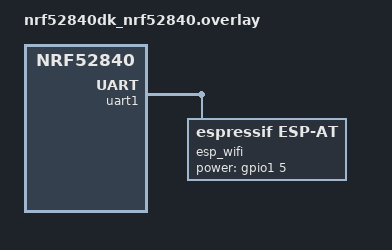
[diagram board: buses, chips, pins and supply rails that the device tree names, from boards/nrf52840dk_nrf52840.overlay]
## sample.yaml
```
sample:
  description: Use LightDB set
  name: lightdb-set
common:
  harness: pytest
  tags:
    - golioth
    - lightdb
    - socket
    - goliothd
tests:
  sample.golioth.lightdb_set:
    timeout: 180
    extra_configs:
      - CONFIG_GOLIOTH_SAMPLE_TWISTER_TEST=y
      - arch:posix:CONFIG_NATIVE_UART_0_ON_STDINOUT=y
    platform_allow:
      - esp32s3_devkitc/esp32s3/procpu
      - frdm_rw612
      - native_sim
      - native_sim/native/64
      - nrf9160dk/nrf9160/ns
      - nucleo_h563zi/stm32h563xx
  sample.golioth.lightdb_set.wifi:
    harness: pytest
    tags:
      - golioth
      - lightdb
      - socket
      - goliothd
    timeout: 180
    extra_configs:
      - CONFIG_GOLIOTH_SAMPLE_TWISTER_TEST=y
    extra_args:
      - EXTRA_CONF_FILE=boards/frdm_rw612_wifi.conf
    platform_allow:
      - frdm_rw612
```

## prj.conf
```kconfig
# Application
CONFIG_GOLIOTH_SAMPLE_COMMON=y

# Golioth Firmware SDK with all dependencies
CONFIG_GOLIOTH_FIRMWARE_SDK=y
CONFIG_GOLIOTH_LIGHTDB_STATE=y
```

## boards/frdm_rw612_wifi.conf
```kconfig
# Extra configuration file for using NXP frdm_rw612 with WiFi instead of Ethernet
#   To use, add as extra conf file:
#   west build -p -b frdm_rw612 examples/zephyr/lightdb/set --extra-conf boards/frdm_rw612_wifi.conf
#
CONFIG_WIFI=y
CONFIG_WIFI_NXP=y
CONFIG_GOLIOTH_SAMPLE_WIFI=y

# Runtime provisioning for WiFi credentials
CONFIG_WIFI_CREDENTIALS=y
CONFIG_NET_L2_WIFI_SHELL=y
CONFIG_SHELL_STACK_SIZE=2560

# Wifi Configuration
CONFIG_NET_L2_ETHERNET=y
CONFIG_NET_PKT_RX_COUNT=36
CONFIG_NET_PKT_TX_COUNT=36
CONFIG_NET_BUF_RX_COUNT=40
CONFIG_NET_BUF_TX_COUNT=40
CONFIG_NET_BUF_DATA_SIZE=1744

# Handle WiFi Networks with Multiple DNS Servers
CONFIG_DNS_RESOLVER_MAX_SERVERS=3

# Disable Ethernet
CONFIG_ETH_NXP_ENET=n
CONFIG_PHY_MICROCHIP_KSZ8081=n
CONFIG_NET_CONFIG_AUTO_INIT=n
CONFIG_NET_CONFIG_NEED_IPV4=n

CONFIG_ZVFS_POLL_MAX=4
```

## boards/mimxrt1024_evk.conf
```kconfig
CONFIG_GOLIOTH_SAMPLE_DHCP_BIND=y
CONFIG_NET_L2_ETHERNET=y
CONFIG_NET_DHCPV4=y
CONFIG_BUILD_OUTPUT_HEX=y
CONFIG_BOOT_DELAY=2000
```

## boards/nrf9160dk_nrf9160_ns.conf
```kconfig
# General config
CONFIG_HEAP_MEM_POOL_SIZE=4096
CONFIG_NEWLIB_LIBC=y

# Networking
CONFIG_NET_SOCKETS_OFFLOAD=y
CONFIG_NET_IPV6=y
CONFIG_NET_IPV6_NBR_CACHE=n
CONFIG_NET_IPV6_MLD=n

# Increase native TLS socket implementation, so that it is chosen instead of
# offloaded nRF91 sockets
CONFIG_NET_SOCKETS_TLS_PRIORITY=35

# Modem library
CONFIG_NRF_MODEM_LIB=y
CONFIG_NRF_MODEM_LIB_ON_FAULT_APPLICATION_SPECIFIC=y

# LTE connectivity with network connection manager
CONFIG_NRF_MODEM_LIB_NET_IF=y
CONFIG_NRF_MODEM_LIB_NET_IF_AUTO_START=y
CONFIG_NRF_MODEM_LIB_NET_IF_AUTO_CONNECT=y
CONFIG_NET_CONNECTION_MANAGER=y
CONFIG_NET_CONNECTION_MANAGER_MONITOR_STACK_SIZE=1024

# Increased sysworkq size, due to LTE connectivity
CONFIG_SYSTEM_WORKQUEUE_STACK_SIZE=2048

# Disable options y-selected by NCS for no good reason
CONFIG_MBEDTLS_KEY_EXCHANGE_DHE_PSK_ENABLED=n
CONFIG_MBEDTLS_KEY_EXCHANGE_DHE_RSA_ENABLED=n

# MbedTLS configuration to support p-384 curve. These options
# enable using the MbedTLS built-in support for operations not
# supported by the default nRF Oberon crypto backend
CONFIG_NORDIC_SECURITY_BACKEND=n
CONFIG_MBEDTLS_LEGACY_CRYPTO_C=y

# Generate MCUboot compatible images
CONFIG_BOOTLOADER_MCUBOOT=y
```

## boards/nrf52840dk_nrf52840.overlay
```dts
/*
 * Copyright (C) 2023 Golioth, Inc.
 *
 * SPDX-License-Identifier: Apache-2.0
 */

&uart1_default {
	cts-rts {
		psels = <NRF_PSEL(UART_CTS, 1, 3)>,
			<NRF_PSEL(UART_RTS, 1, 4)>;
	};
};

&uart1_sleep {
	cts-rts {
		psels = <NRF_PSEL(UART_CTS, 1, 3)>,
			<NRF_PSEL(UART_RTS, 1, 4)>;
		low-power-enable;
	};
};

&uart1 {
	status = "okay";
	hw-flow-control;

	esp_wifi: esp-wifi {
		compatible = "espressif,esp-at";
		power-gpios = <&gpio1 5 (GPIO_ACTIVE_HIGH | GPIO_OPEN_DRAIN)>;
		status = "okay";
	};
};
```

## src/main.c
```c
/*
 * Copyright (c) 2023 Golioth, Inc.
 *
 * SPDX-License-Identifier: Apache-2.0
 */

#include <zephyr/logging/log.h>
LOG_MODULE_REGISTER(lightdb_set, LOG_LEVEL_DBG);

#include <golioth/client.h>
#include <golioth/lightdb_state.h>
#include <samples/common/sample_credentials.h>
#include <string.h>
#include <zcbor_encode.h>
#include <zephyr/kernel.h>

#include <samples/common/net_connect.h>

struct golioth_client *client;
static K_SEM_DEFINE(connected, 0, 1);

static void on_client_event(struct golioth_client *client,
                            enum golioth_client_event event,
                            void *arg)
{
    bool is_connected = (event == GOLIOTH_CLIENT_EVENT_CONNECTED);
    if (is_connected)
    {
        k_sem_give(&connected);
    }
    LOG_INF("Golioth client %s", is_connected ? "connected" : "disconnected");
}

static void counter_set_handler(struct golioth_client *client,
                                enum golioth_status status,
                                const struct golioth_coap_rsp_code *coap_rsp_code,
                                const char *path,
                                void *arg)
{
    if (status != GOLIOTH_OK)
    {
        LOG_WRN("Failed to set counter: %d (%s)", status, golioth_status_to_str(status));
        return;
    }

    LOG_DBG("Counter successfully set");

    return;
}

static void counter_set(int counter)
{
    int err;

    err = golioth_lightdb_set_int(client, "counter", counter, counter_set_handler, NULL);
    if (err)
    {
        LOG_WRN("Failed to set counter: %d (%s)", err, golioth_status_to_str(err));
        return;
    }
}

static void counter_set_json(int counter)
{
    char sbuf[sizeof("{\"counter\":4294967295}")];
    int err;

    snprintk(sbuf, sizeof(sbuf), "{\"counter\":%d}", counter);

    err = golioth_lightdb_set(client,
                              "",
                              GOLIOTH_CONTENT_TYPE_JSON,
                              sbuf,
                              strlen(sbuf),
                              counter_set_handler,
                              NULL);
    if (err)
    {
        LOG_WRN("Failed to set counter: %d (%s)", err, golioth_status_to_str(err));
        return;
    }
}

static void counter_set_cbor(int counter)
{
    uint8_t buf[32];
    ZCBOR_STATE_E(zse, 1, buf, sizeof(buf), 1);

    bool ok = zcbor_map_start_encode(zse, 1);
    if (!ok)
    {
        LOG_ERR("Failed to start CBOR encoding");
        return;
    }

    ok = zcbor_tstr_put_lit(zse, "counter");
    if (!ok)
    {
        LOG_ERR("CBOR: Failed to encode counter name");
        return;
    }

    ok = zcbor_int32_put(zse, counter);
    if (!ok)
    {
        LOG_ERR("CBOR: failed to encode counter value");
        return;
    }

    ok = zcbor_map_end_encode(zse, 1);
    if (!ok)
    {
        LOG_ERR("Failed to close CBOR map object");
        return;
    }

    size_t payload_size = (intptr_t) zse->payload - (intptr_t) buf;

    int err = golioth_lightdb_set(client,
                                  "",
                                  GOLIOTH_CONTENT_TYPE_CBOR,
                                  buf,
                                  payload_size,
                                  counter_set_handler,
                                  NULL);
    if (err)
    {
        LOG_WRN("Failed to set counter: %d (%s)", err, golioth_status_to_str(err));
    }
}

int main(void)
{
    int counter = 0;

    LOG_DBG("Start LightDB set sample");

    net_connect();

    /* Note: In production, credentials should be saved in secure storage. For
     * simplicity, we provide a utility that stores credentials as plaintext
     * settings.
     */
    const struct golioth_client_config *client_config = golioth_sample_credentials_get();

    client = golioth_client_create(client_config);
    golioth_client_register_event_callback(client, on_client_event, NULL);

    k_sem_take(&connected, K_FOREVER);

    while (true)
    {
        /* Using int */
        LOG_DBG("Setting counter to %d", counter);

        LOG_DBG("Before request");
        counter_set(counter);
        LOG_DBG("After request");

        counter++;
        k_sleep(K_SECONDS(5));

        /* Using JSON object */
        LOG_DBG("Setting counter to %d", counter);

        LOG_DBG("Before request (json)");
        counter_set_json(counter);
        LOG_DBG("After request (json)");

        counter++;
        k_sleep(K_SECONDS(5));

        /* Using CBOR object */
        LOG_DBG("Setting counter to %d", counter);


        LOG_DBG("Before request (cbor)");
        counter_set_cbor(counter);
        LOG_DBG("After request (cbor)");

        counter++;
        k_sleep(K_SECONDS(5));
    }

    return 0;
}
```
